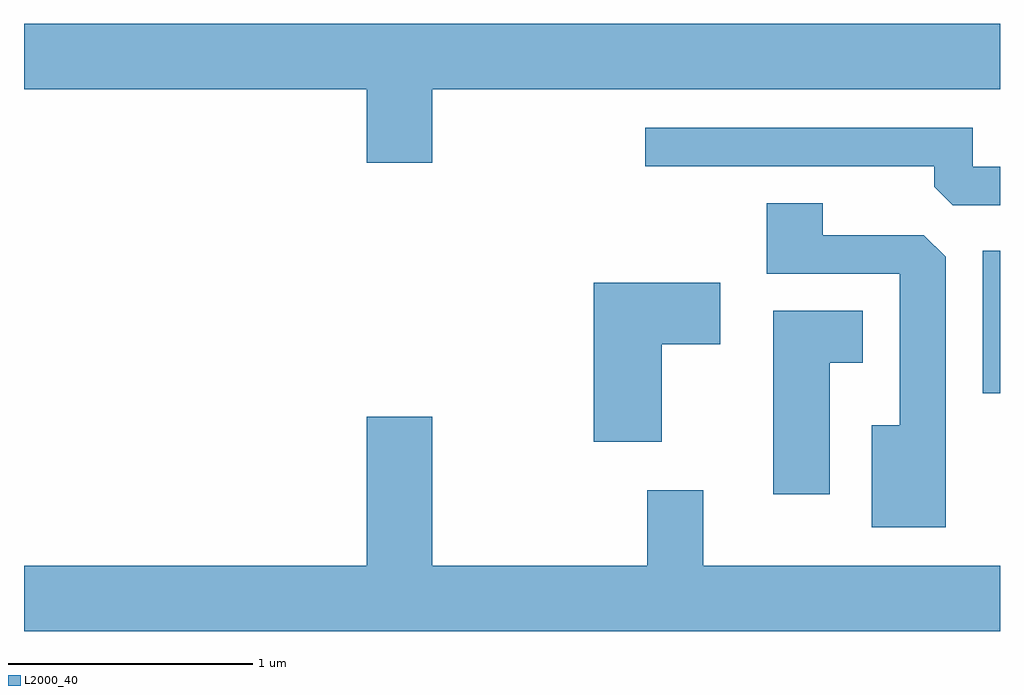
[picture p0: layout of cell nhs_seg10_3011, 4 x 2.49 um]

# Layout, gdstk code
import gdstk
lib = gdstk.Library(unit=1e-6, precision=1e-09)
def R(c, l, rs):  # rectangles x0, y0, x1, y1
    for r in rs: c.add(gdstk.rectangle(r[:2], r[2:], *l))
def P(c, l, *ps):  # polygons
    for p in ps: c.add(gdstk.Polygon(p, *l))
L2000_40 = (2000, 40)

nhs_seg10_3011 = lib.new_cell('nhs_seg10_3011')
R(nhs_seg10_3011, L2000_40, [(277.541,2141.531,277.611,2142.114)])
P(nhs_seg10_3011, L2000_40, [(275.284,2142.776),(277.611,2142.776),(277.611,2143.044),(273.611,2143.044),(273.611,2142.776),(275.016,2142.776),(275.016,2142.476),(275.284,2142.476)],
  [(277.611,2142.459),(277.499,2142.459),(277.499,2142.619),(276.158,2142.619),(276.158,2142.461),(277.341,2142.461),(277.341,2142.377),(277.417,2142.301),(277.611,2142.301)],
  [(277.389,2142.089),(277.299,2142.179),(276.884,2142.179),(276.884,2142.309),(276.656,2142.309),(276.656,2142.021),(277.201,2142.021),(277.201,2141.399),(277.086,2141.399),(277.086,2140.981),(277.389,2140.981)],
  [(276.224,2141.731),(276.464,2141.731),(276.464,2141.984),(275.946,2141.984),(275.946,2141.331),(276.224,2141.331)],
  [(276.914,2141.656),(277.049,2141.656),(277.049,2141.869),(276.681,2141.869),(276.681,2141.116),(276.914,2141.116)],
  [(277.611,2140.824),(276.394,2140.824),(276.394,2141.134),(276.166,2141.134),(276.166,2140.824),(275.284,2140.824),(275.284,2141.434),(275.016,2141.434),(275.016,2140.824),(273.611,2140.824),(273.611,2140.556),(277.611,2140.556)])

lib.write_gds('nhs_seg10_3011.gds')
